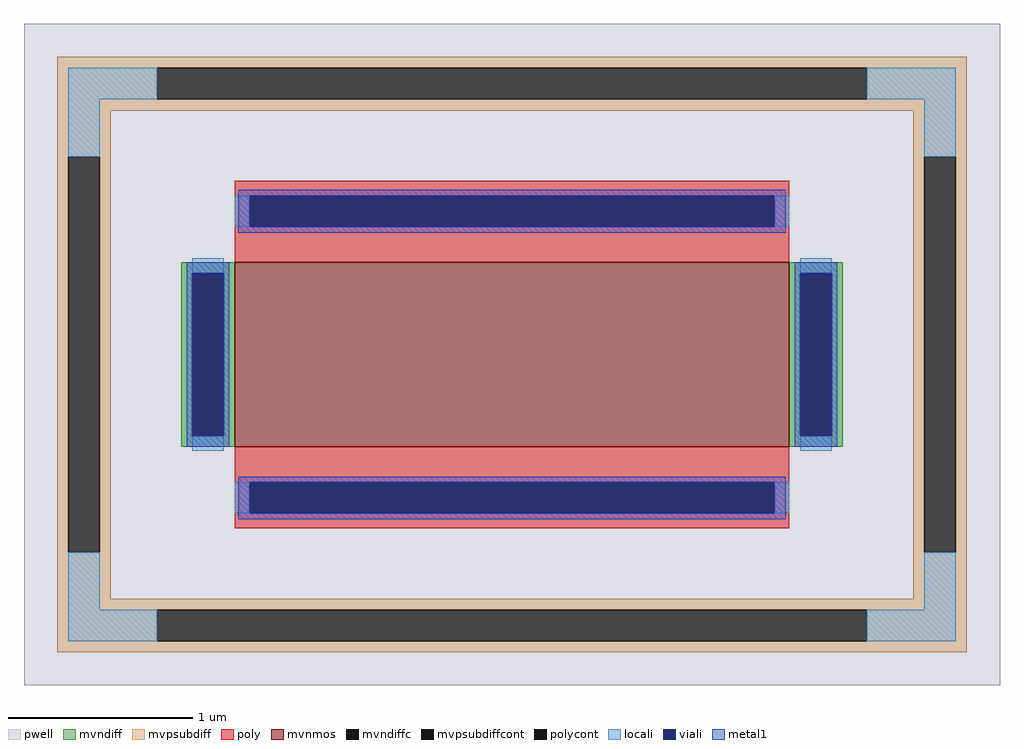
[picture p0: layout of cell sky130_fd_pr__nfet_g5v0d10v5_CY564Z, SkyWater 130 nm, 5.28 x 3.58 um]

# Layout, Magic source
magic
tech sky130A
<< pwell >>
rect -264 -179 264 179
<< mvnmos >>
rect -150 -50 150 50
<< mvndiff >>
rect -179 44 -150 50
rect -179 -44 -173 44
rect -156 -44 -150 44
rect -179 -50 -150 -44
rect 150 44 179 50
rect 150 -44 156 44
rect 173 -44 179 44
rect 150 -50 179 -44
<< mvndiffc >>
rect -173 -44 -156 44
rect 156 -44 173 44
<< mvpsubdiff >>
rect -246 155 246 161
rect -246 138 -192 155
rect 192 138 246 155
rect -246 132 246 138
rect -246 107 -217 132
rect -246 -107 -240 107
rect -223 -107 -217 107
rect 217 107 246 132
rect -246 -132 -217 -107
rect 217 -107 223 107
rect 240 -107 246 107
rect 217 -132 246 -107
rect -246 -138 246 -132
rect -246 -155 -192 -138
rect 192 -155 246 -138
rect -246 -161 246 -155
<< mvpsubdiffcont >>
rect -192 138 192 155
rect -240 -107 -223 107
rect 223 -107 240 107
rect -192 -155 192 -138
<< poly >>
rect -150 86 150 94
rect -150 69 -142 86
rect 142 69 150 86
rect -150 50 150 69
rect -150 -69 150 -50
rect -150 -86 -142 -69
rect 142 -86 150 -69
rect -150 -94 150 -86
<< polycont >>
rect -142 69 142 86
rect -142 -86 142 -69
<< locali >>
rect -240 138 -192 155
rect 192 138 240 155
rect -240 107 -223 138
rect 223 107 240 138
rect -150 69 -142 86
rect 142 69 150 86
rect -173 44 -156 52
rect -173 -52 -156 -44
rect 156 44 173 52
rect 156 -52 173 -44
rect -150 -86 -142 -69
rect 142 -86 150 -69
rect -240 -138 -223 -107
rect 223 -138 240 -107
rect -240 -155 -192 -138
rect 192 -155 240 -138
<< viali >>
rect -142 69 142 86
rect -173 -44 -156 44
rect 156 -44 173 44
rect -142 -86 142 -69
<< metal1 >>
rect -148 86 148 89
rect -148 69 -142 86
rect 142 69 148 86
rect -148 66 148 69
rect -176 44 -153 50
rect -176 -44 -173 44
rect -156 -44 -153 44
rect -176 -50 -153 -44
rect 153 44 176 50
rect 153 -44 156 44
rect 173 -44 176 44
rect 153 -50 176 -44
rect -148 -69 148 -66
rect -148 -86 -142 -69
rect 142 -86 148 -69
rect -148 -89 148 -86
<< properties >>
string FIXED_BBOX -231 -146 231 146
string gencell sky130_fd_pr__nfet_g5v0d10v5
string library sky130
string parameters w 1 l 3 m 1 nf 1 diffcov 100 polycov 100 guard 1 glc 1 grc 1 gtc 1 gbc 1 tbcov 100 rlcov 100 topc 1 botc 1 poverlap 0 doverlap 1 lmin 0.50 wmin 0.42 compatible {sky130_fd_pr__nfet_01v8 sky130_fd_pr__nfet_01v8_lvt  sky130_fd_bs_flash__special_sonosfet_star  sky130_fd_pr__nfet_g5v0d10v5 sky130_fd_pr__nfet_05v0_nvt  sky130_fd_pr__nfet_03v3_nvt} full_metal 1 viasrc 100 viadrn 100 viagate 100 viagb 0 viagr 0 viagl 0 viagt 0
<< end >>
